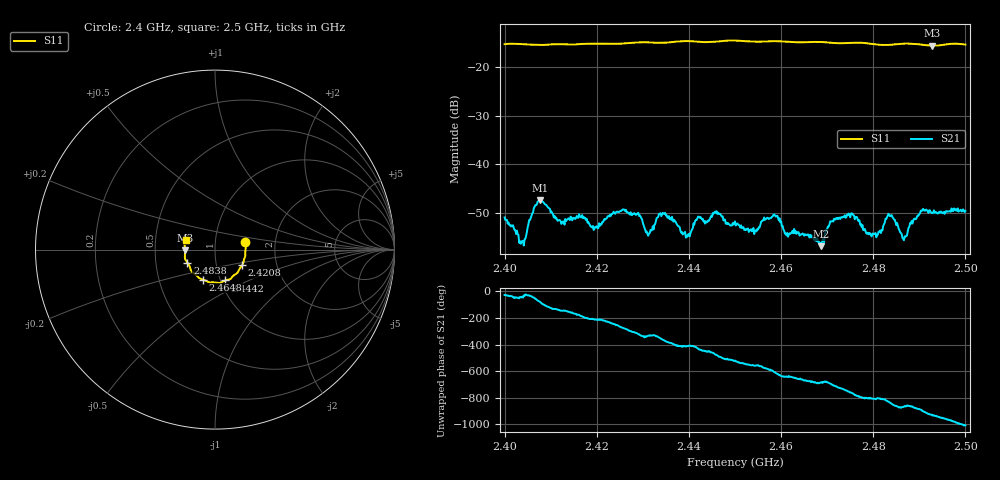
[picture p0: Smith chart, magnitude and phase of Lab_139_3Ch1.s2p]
# Hz S RI R 50
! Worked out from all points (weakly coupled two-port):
!   601 points, 2.4 GHz to 2.5 GHz, reference 50 ohm
!   highest |S21| = -47.40 dB at 2.4077 GHz (marker M1); lowest = -56.8 dB at 2.4687 GHz (marker M2)
!   lowest |S11| = -15.6 dB at 2.4928 GHz (marker M3), VSWR 1.40, Z = 35.7 - j0.363 ohm
!   |S11| at or under -10 dB: start of sweep to end of sweep
!   S12 and S22 are empty: the file has one direction only
!   S11 on the Smith chart (normalised r, x): 2.4 GHz: 1.40, +0.12; 2.4208 GHz: 1.33, -0.24; 2.4442 GHz: 1.05, -0.37; 2.4648 GHz: 0.83, -0.29; 2.4838 GHz: 0.73, -0.11; 2.5 GHz: 0.72, +0.08
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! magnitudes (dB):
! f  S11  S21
! 2.4 GHz  -15.3  -50.9
! 2.4037 GHz  -15.3  -55.8
! 2.4077 GHz  -15.4  -47.4
! 2.4167 GHz  -15.2  -50.9
! 2.4208 GHz  -15.2  -52.3
! 2.4258 GHz  -15.1  -49.2
! 2.4312 GHz  -14.9  -54.7
! 2.4333 GHz  -15.0  -50.8
! 2.4398 GHz  -14.6  -54.4
! 2.4442 GHz  -14.9  -51.5
! 2.45 GHz  -14.5  -51.7
! 2.4587 GHz  -14.7  -50.5
! 2.4648 GHz  -14.9  -54.3
! 2.4667 GHz  -14.8  -54.6
! 2.4687 GHz  -14.8  -56.8
! 2.472 GHz  -15.1  -51.0
! 2.4805 GHz  -15.3  -54.1
! 2.4833 GHz  -15.4  -50.2
! 2.4838 GHz  -15.4  -50.5
! 2.4868 GHz  -15.2  -54.8
! 2.4928 GHz  -15.6  -50.0
! 2.5 GHz  -15.3  -49.6
